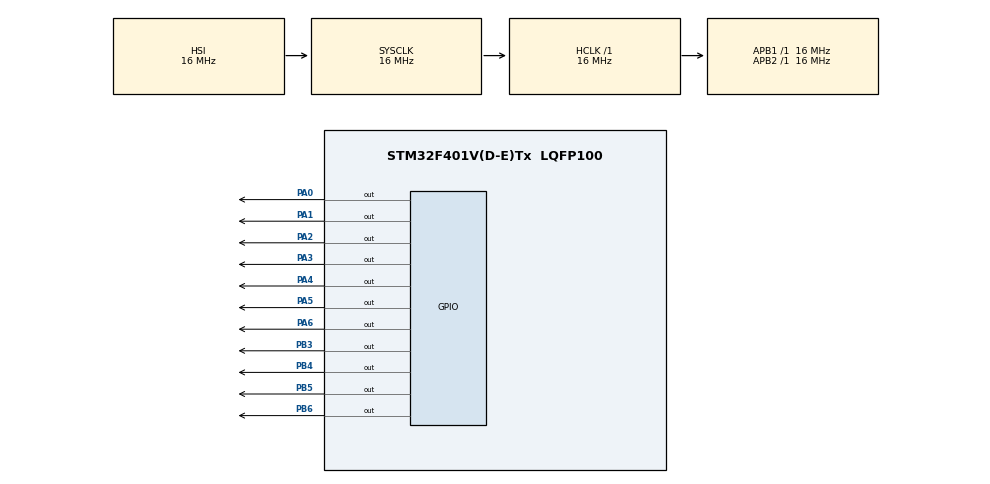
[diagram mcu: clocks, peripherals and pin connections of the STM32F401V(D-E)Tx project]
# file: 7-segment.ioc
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Mcu.Family=STM32F4
Mcu.Name=STM32F401V(D-E)Tx
Mcu.Package=LQFP100
NVIC.PriorityGroup=NVIC_PRIORITYGROUP_4
PA0-WKUP.Signal=GPIO_Output
PA1.Signal=GPIO_Output
PA2.Signal=GPIO_Output
PA3.Signal=GPIO_Output
PA4.Signal=GPIO_Output
PA5.Signal=GPIO_Output
PA6.Signal=GPIO_Output
PB3.Signal=GPIO_Output
PB4.Signal=GPIO_Output
PB5.Signal=GPIO_Output
PB6.Signal=GPIO_Output
ProjectManager.HeapSize=0x200
ProjectManager.StackSize=0x400
ProjectManager.TargetToolchain=MDK-ARM V5.27
RCC.AHBFreq_Value=16000000
RCC.APB1Freq_Value=16000000
RCC.APB2Freq_Value=16000000
RCC.CortexFreq_Value=16000000
RCC.HSE_VALUE=25000000
RCC.HSI_VALUE=16000000
RCC.LSE_VALUE=32768
RCC.SYSCLKFreq_VALUE=16000000
RCC.VCOOutputFreq_Value=192000000
board=custom

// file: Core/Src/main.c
/* USER CODE BEGIN Header */
/**
  ******************************************************************************
  * @file           : main.c
  * @brief          : Main program body
  ******************************************************************************
  * @attention
  *
  * <h2><center>&copy; Copyright (c) 2021 STMicroelectronics.
  * All rights reserved.</center></h2>
  *
  * This software component is licensed by ST under BSD 3-Clause license,
  * the "License"; You may not use this file except in compliance with the
  * License. You may obtain a copy of the License at:
  *                        opensource.org/licenses/BSD-3-Clause
  *
  ******************************************************************************
  */
/* USER CODE END Header */
#include "main.h"

void Disp_CC(unsigned char var);

void SystemClock_Config(void);
static void MX_GPIO_Init(void);
/* USER CODE BEGIN PFP */

int main(void)
{
  /* USER CODE BEGIN 1 */
	unsigned char i;

  SystemClock_Config();

  MX_GPIO_Init();

  while (1)
  {
    /* USER CODE END WHILE */
			for(i=0;i<=16;i++)
			{
					Disp_CC(i);
					HAL_Delay(500);
			}
  }
}

void SystemClock_Config(void)
{
  RCC_OscInitTypeDef RCC_OscInitStruct = {0};
  RCC_ClkInitTypeDef RCC_ClkInitStruct = {0};

  /** Configure the main internal regulator output voltage
  */
  __HAL_RCC_PWR_CLK_ENABLE();
  __HAL_PWR_VOLTAGESCALING_CONFIG(PWR_REGULATOR_VOLTAGE_SCALE2);
  /** Initializes the RCC Oscillators according to the specified parameters
  * in the RCC_OscInitTypeDef structure.
  */
  RCC_OscInitStruct.OscillatorType = RCC_OSCILLATORTYPE_HSI;
  RCC_OscInitStruct.HSIState = RCC_HSI_ON;
  RCC_OscInitStruct.HSICalibrationValue = RCC_HSICALIBRATION_DEFAULT;
  RCC_OscInitStruct.PLL.PLLState = RCC_PLL_NONE;
  if (HAL_RCC_OscConfig(&RCC_OscInitStruct) != HAL_OK)
  {
    Error_Handler();
  }
  /** Initializes the CPU, AHB and APB buses clocks
  */
  RCC_ClkInitStruct.ClockType = RCC_CLOCKTYPE_HCLK|RCC_CLOCKTYPE_SYSCLK
                              |RCC_CLOCKTYPE_PCLK1|RCC_CLOCKTYPE_PCLK2;
  RCC_ClkInitStruct.SYSCLKSource = RCC_SYSCLKSOURCE_HSI;
  RCC_ClkInitStruct.AHBCLKDivider = RCC_SYSCLK_DIV1;
  RCC_ClkInitStruct.APB1CLKDivider = RCC_HCLK_DIV1;
  RCC_ClkInitStruct.APB2CLKDivider = RCC_HCLK_DIV1;

  if (HAL_RCC_ClockConfig(&RCC_ClkInitStruct, FLASH_LATENCY_0) != HAL_OK)
  {
    Error_Handler();
  }
}

static void MX_GPIO_Init(void)
{
  GPIO_InitTypeDef GPIO_InitStruct = {0};

  /* GPIO Ports Clock Enable */
  __HAL_RCC_GPIOA_CLK_ENABLE();
  __HAL_RCC_GPIOB_CLK_ENABLE();

  /*Configure GPIO pin Output Level */
  HAL_GPIO_WritePin(GPIOA, GPIO_PIN_0|GPIO_PIN_1|GPIO_PIN_2|GPIO_PIN_3
                          |GPIO_PIN_4|GPIO_PIN_5|GPIO_PIN_6, GPIO_PIN_RESET);

  /*Configure GPIO pin Output Level */
  HAL_GPIO_WritePin(GPIOB, GPIO_PIN_3|GPIO_PIN_4|GPIO_PIN_5|GPIO_PIN_6, GPIO_PIN_RESET);

  /*Configure GPIO pins : PA0 PA1 PA2 PA3
                           PA4 PA5 PA6 */
  GPIO_InitStruct.Pin = GPIO_PIN_0|GPIO_PIN_1|GPIO_PIN_2|GPIO_PIN_3
                          |GPIO_PIN_4|GPIO_PIN_5|GPIO_PIN_6;
  GPIO_InitStruct.Mode = GPIO_MODE_OUTPUT_PP;
  GPIO_InitStruct.Pull = GPIO_NOPULL;
  GPIO_InitStruct.Speed = GPIO_SPEED_FREQ_LOW;
  HAL_GPIO_Init(GPIOA, &GPIO_InitStruct);

  /*Configure GPIO pins : PB3 PB4 PB5 PB6 */
  GPIO_InitStruct.Pin = GPIO_PIN_3|GPIO_PIN_4|GPIO_PIN_5|GPIO_PIN_6;
  GPIO_InitStruct.Mode = GPIO_MODE_OUTPUT_PP;
  GPIO_InitStruct.Pull = GPIO_NOPULL;
  GPIO_InitStruct.Speed = GPIO_SPEED_FREQ_LOW;
  HAL_GPIO_Init(GPIOB, &GPIO_InitStruct);

}

/* USER CODE BEGIN 4 */

void Disp_CC(unsigned char var1)
{
	unsigned char disp_arr[16] = {0x3f,0x06,0x5b,0x4f,0x66, 0x6d,0x7d,0x07,0x7f,0x6f,0x77,0x7c,0x39,0x5e,0x79,0x71};  // common cathod
	unsigned char bit_var,var2;

	var2 = disp_arr[var1-1];
	bit_var = var2 & 0x01;
	HAL_GPIO_WritePin(GPIOA, GPIO_PIN_0,bit_var);

	bit_var = (var2>>1) & 0x01;
	HAL_GPIO_WritePin(GPIOA, GPIO_PIN_1,bit_var);

	bit_var = (var2>>2) & 0x01;
	HAL_GPIO_WritePin(GPIOA, GPIO_PIN_2,bit_var);

	bit_var = (var2>>3) & 0x01;
	HAL_GPIO_WritePin(GPIOA, GPIO_PIN_3,bit_var);

	bit_var = (var2>>4) & 0x01;
	HAL_GPIO_WritePin(GPIOA, GPIO_PIN_4,bit_var);

	bit_var = (var2>>5) & 0x01;
	HAL_GPIO_WritePin(GPIOA, GPIO_PIN_5,bit_var);

	bit_var = (var2>>6) & 0x01;
	HAL_GPIO_WritePin(GPIOA, GPIO_PIN_6,bit_var);

}

/* USER CODE END 4 */

void Error_Handler(void)
{
  __disable_irq();
  while (1)
  {
  }
}

/************************ (C) COPYRIGHT STMicroelectronics *****END OF FILE****/
